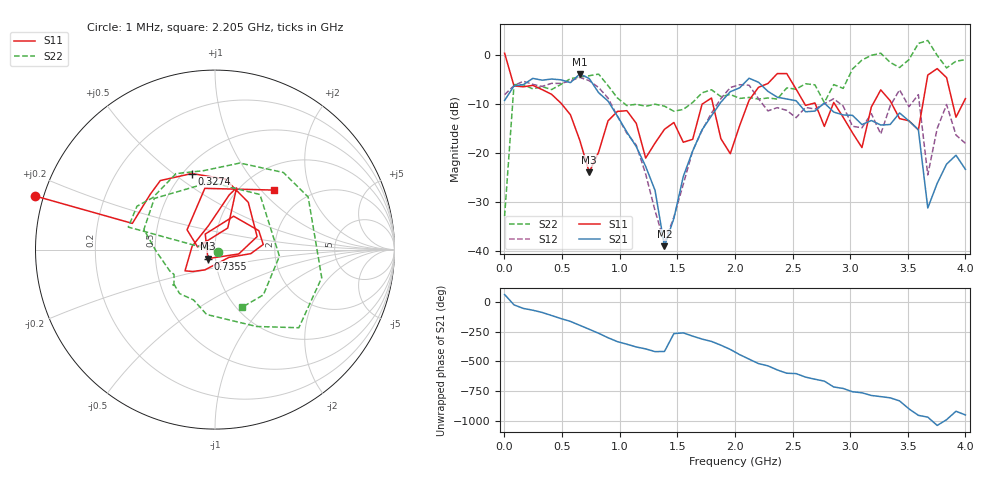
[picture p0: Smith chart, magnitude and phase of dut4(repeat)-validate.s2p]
!Created with skrf (http://scikit-rf.org).
# GHz S DB R 50.0
!freq dBS11 angS11 dBS21 angS21 dBS12 angS12 dBS22 angS22
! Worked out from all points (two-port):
!   50 points, 1 MHz to 4 GHz, reference 50 ohm
!   highest |S21| = -3.85 dB at 653.9 MHz (marker M1); lowest = -39.0 dB at 1.388 GHz (marker M2)
!   |S21| within 3 dB of the highest: 67.44 MHz to 793.4 MHz (726 MHz wide, 169 % of centre); 2.025 GHz to 2.262 GHz (237 MHz wide, 11.1 % of centre)
!   lowest |S11| = -23.9 dB at 735.5 MHz (marker M3), VSWR 1.14, Z = 46 - j4.61 ohm
!   |S11| at or under -10 dB: 496.3 MHz to 1.717 GHz (1.221 GHz wide, 110 % of centre); 1.809 GHz to 2.111 GHz (302.1 MHz wide, 15.4 % of centre); 2.866 GHz to 3.198 GHz (331.9 MHz wide, 10.9 % of centre)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
!   |S22| runs from -32.9 to 3.0 dB; largest |S21 - S12| = 0.58
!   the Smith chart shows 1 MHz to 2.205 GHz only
!   S11 on the Smith chart (normalised r, x): 1 MHz: -0.02, +0.15; 327.4 MHz: 0.55, +0.58; 735.5 MHz: 0.92, -0.09; 2.205 GHz: 1.40, +1.19
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0.001  0.38 163.4  -9.26 66.4  -8.09 -37.2  -32.89 -33.2
0.08261224  -6.32 162.4  -6.30 -21.1  -6.22 -22.2  -6.03 165.4
0.327449  -7.07 107.1  -5.13 -85.5  -6.41 -85.4  -6.45 117.2
0.653898  -17.43 -10.5  -3.85 165.9  -4.56 165.1  -4.49 29.5
0.7355102  -23.93 -128.3  -4.80 132.6  -5.24 115.3  -4.22 -14.7
0.9803469  -11.51 23.4  -12.48 27.9  -12.51 32.8  -8.77 -97.4
1.225184  -21.04 -29.4  -22.74 -33.4  -24.28 -30.8  -10.46 -138.8
1.388408  -15.16 -135.7  -39.03 -55.3  -38.33 -107.5  -10.44 -139.6
1.796469  -8.77 70.8  -12.41 29.7  -11.85 32.2  -7.09 139.8
1.959694  -20.14 171.2  -7.49 -38.0  -6.63 -49.2  -8.04 50.8
2.041306  -14.39 144.7  -6.69 -82.3  -6.06 -90.0  -8.85 -5.8
2.204531  -6.59 45.1  -5.55 -157.9  -8.92 -150.9  -9.00 -64.7
2.449367  -3.78 24.7  -8.97 120.6  -11.30 155.6  -6.72 -126.9
2.694204  -9.79 -59.5  -11.44 69.9  -11.01 95.3  -6.09 -165.3
2.857429  -9.68 -76.0  -11.65 4.2  -8.92 40.9  -6.04 -148.7
3.102265  -18.89 -156.8  -14.20 -44.9  -14.85 -44.9  -1.03 159.5
3.347102  -9.32 115.1  -14.18 -87.6  -10.39 -91.3  -1.50 151.2
3.510327  -13.42 -31.3  -13.46 178.9  -10.54 177.1  -0.95 126.1
3.591939  -15.29 157.9  -15.24 124.3  -8.08 164.0  2.37 142.2
3.673551  -4.09 89.6  -31.24 109.1  -24.47 19.2  2.98 140.9
3.836776  -4.62 49.4  -22.27 87.3  -10.11 -135.4  -2.63 96.7
4  -8.90 4.6  -23.33 127.5  -18.04 59.1  -0.96 48.6
